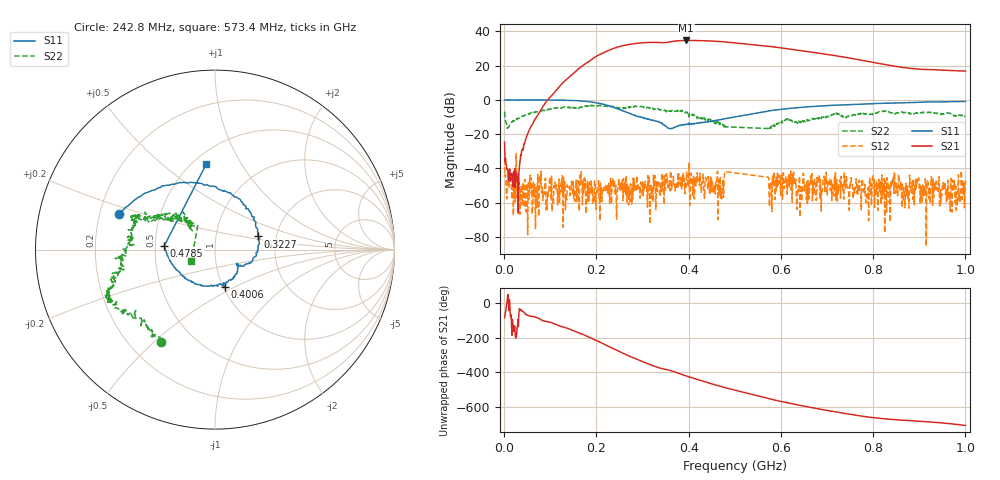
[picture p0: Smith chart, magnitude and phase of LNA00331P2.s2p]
! Created with skrf 1.9.0 (http://scikit-rf.org).
# Hz S RI R 50.0
!freq ReS11 ImS11 ReS21 ImS21 ReS12 ImS12 ReS22 ImS22
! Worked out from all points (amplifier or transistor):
!   907 points, 1 MHz to 1 GHz, reference 50 ohm
!   highest |S21| = 34.8 dB at 394.6 MHz (marker M1)
!   |S21| within 3 dB of that: 259.1 MHz to 558.3 MHz (299.2 MHz wide, 73.2 % of centre)
!   unconditionally stable (mu >= 1): 231 MHz to 287.5 MHz; 287.8 MHz to 400.3 MHz; 400.9 MHz to end of sweep (the widest 3 of 30)
!   at 151.8 MHz: K = 2.20, MAG = 27.8 dB, |S12| = -52.1 dB
!   at 453.5 MHz: K = 4.65, MAG = 34.9 dB, |S12| = -54.7 dB
!   at 1 GHz: K = 2.49, MAG = 25.1 dB, |S12| = -46.9 dB
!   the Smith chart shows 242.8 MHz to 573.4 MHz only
!   S11 on the Smith chart (normalised r, x): 242.8 MHz: 0.28, +0.17; 322.7 MHz: 1.61, +0.25; 400.6 MHz: 1.02, -0.44; 478.5 MHz: 0.56, +0.03; 573.4 MHz: 0.58, +0.72
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1000000  0.9807 0.00845  0.00568 -0.0584  -0.0172 -0.00706  0.3329 0.3091
1.08892e8  0.5044 -0.8557  -0.7896 -1.453  0.000573 -0.00281  0.4279 -0.3748
1.67833e8  -0.2645 -0.8909  -9.519 -0.523  -0.00257 -0.00251  0.0356 -0.6326
2.09791e8  -0.6952 -0.3419  -14.98 16.24  0.000756 -0.00128  -0.1982 -0.6485
2.42758e8  -0.5335 0.1997  0.2244 33.78  0.000496 0.00146  -0.3001 -0.5132
2.76724e8  -0.0939 0.3699  28.55 32.1  -0.000894 5.17e-05  -0.5466 -0.3237
3.007e8  0.152 0.2655  43.42 17.03  -0.00246 0.0035  -0.596 -0.2149
3.22678e8  0.2397 0.0731  48.11 -0.8788  -0.000165 0.00104  -0.5496 -0.1316
3.34666e8  0.231 -0.0285  46.69 -9.969  -0.0024 0.00241  -0.5183 -0.0406
3.69631e8  0.1288 -0.0944  41.91 -31.38  0.000197 0.00343  -0.457 0.1219
3.94606e8  0.064 -0.18  27.22 -47.39  0.00245 0.00144  -0.397 0.1683
4.006e8  0.0541 -0.2061  21.23 -49.85  0.0014 0.0149  -0.2508 0.2025
4.29571e8  -0.1142 -0.187  0.3693 -53.53  0.00148 0.00327  -0.2133 0.1807
4.61539e8  -0.2457 -0.0688  -21.65 -46.52  0.00354 0.00267  -0.1519 0.1551
4.74526e8  -0.2749 -0.00151  -28.68 -41.1  0.00436 0.000831  -0.1323 0.1273
4.78522e8  -0.2824 0.0217  -30.42 -39.28  0.0071 0.00398  -0.0961 0.1334
5.73427e8  -0.0496 0.4748  -36.17 7.308  0.00537 -0.00108  -0.1321 -0.063
5.77423e8  -0.0264 0.4857  -35.29 8.936  -0.000237 -0.00368  -0.1386 -0.0687
6.67333e8  0.4151 0.492  -10.99 22.05  -0.00064 -0.00702  -0.2817 -0.0483
7.5025e8  0.6733 0.2833  3.467 16.3  -0.00198 -0.00187  -0.3465 0.0367
8.34166e8  0.8054 0.01  6.677 7.926  -0.00277 0.00122  -0.414 0.169
1e9  0.7188 -0.5474  6.797 1.649  0.00432 -0.00128  -0.0752 0.325
